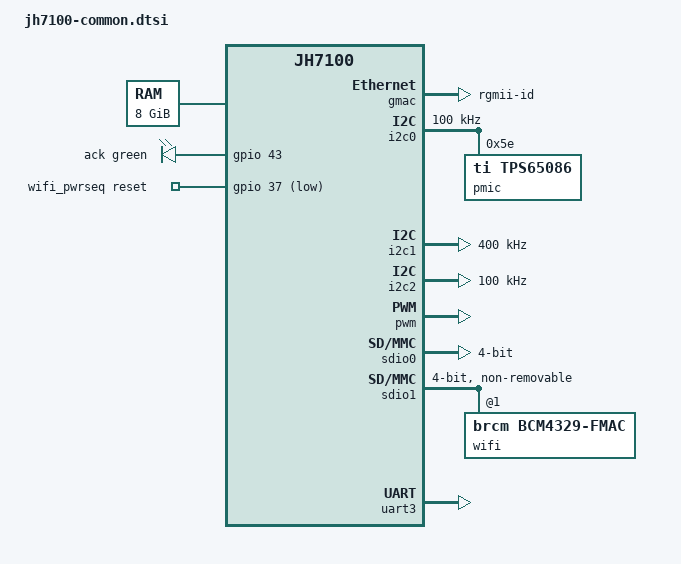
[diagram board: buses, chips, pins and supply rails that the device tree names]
// SPDX-License-Identifier: GPL-2.0 OR MIT
/*
 * Copyright (C) 2021 StarFive Technology Co., Ltd.
 * Copyright (C) 2021 Emil Renner Berthing <kernel@esmil.dk>
 */

/dts-v1/;
#include "jh7100.dtsi"
#include <dt-bindings/gpio/gpio.h>
#include <dt-bindings/leds/common.h>
#include <dt-bindings/pinctrl/pinctrl-starfive-jh7100.h>

/ {
	aliases {
		mmc0 = &sdio0;
		mmc1 = &sdio1;
		serial0 = &uart3;
	};

	chosen {
		stdout-path = "serial0:115200n8";
	};

	cpus {
		timebase-frequency = <6250000>;
	};

	memory@80000000 {
		device_type = "memory";
		reg = <0x0 0x80000000 0x2 0x0>;
	};

	leds {
		compatible = "gpio-leds";

		led-ack {
			gpios = <&gpio 43 GPIO_ACTIVE_HIGH>;
			color = <LED_COLOR_ID_GREEN>;
			function = LED_FUNCTION_HEARTBEAT;
			linux,default-trigger = "heartbeat";
			label = "ack";
		};
	};

	reserved-memory {
		#address-cells = <2>;
		#size-cells = <2>;
		ranges;

		dma-reserved@fa000000 {
			reg = <0x0 0xfa000000 0x0 0x1000000>;
			no-map;
		};

		linux,dma@107a000000 {
			compatible = "shared-dma-pool";
			reg = <0x10 0x7a000000 0x0 0x1000000>;
			no-map;
			linux,dma-default;
		};
	};

	soc {
		dma-ranges = <0x00 0x80000000 0x00 0x80000000 0x00 0x7a000000>,
			     <0x00 0xfa000000 0x10 0x7a000000 0x00 0x01000000>,
			     <0x00 0xfb000000 0x00 0xfb000000 0x07 0x85000000>;
	};

	wifi_pwrseq: wifi-pwrseq {
		compatible = "mmc-pwrseq-simple";
		reset-gpios = <&gpio 37 GPIO_ACTIVE_LOW>;
	};
};

&gmac {
	pinctrl-names = "default";
	pinctrl-0 = <&gmac_pins>;
	phy-mode = "rgmii-id";
	status = "okay";

	mdio: mdio {
		#address-cells = <1>;
		#size-cells = <0>;
		compatible = "snps,dwmac-mdio";
	};
};

&gpio {
	gmac_pins: gmac-0 {
		gtxclk-pins {
			pins = <PAD_FUNC_SHARE(115)>;
			bias-pull-up;
			drive-strength = <35>;
			input-enable;
			input-schmitt-enable;
			slew-rate = <0>;
		};
		miitxclk-pins {
			pins = <PAD_FUNC_SHARE(116)>;
			bias-pull-up;
			drive-strength = <14>;
			input-enable;
			input-schmitt-disable;
			slew-rate = <0>;
		};
		tx-pins {
			pins = <PAD_FUNC_SHARE(117)>,
			       <PAD_FUNC_SHARE(119)>,
			       <PAD_FUNC_SHARE(120)>,
			       <PAD_FUNC_SHARE(121)>,
			       <PAD_FUNC_SHARE(122)>,
			       <PAD_FUNC_SHARE(123)>,
			       <PAD_FUNC_SHARE(124)>,
			       <PAD_FUNC_SHARE(125)>,
			       <PAD_FUNC_SHARE(126)>;
			bias-pull-up;
			drive-strength = <35>;
			input-disable;
			input-schmitt-disable;
			slew-rate = <0>;
		};
		rxclk-pins {
			pins = <PAD_FUNC_SHARE(127)>;
			bias-pull-up;
			drive-strength = <14>;
			input-enable;
			input-schmitt-disable;
			slew-rate = <6>;
		};
		rxer-pins {
			pins = <PAD_FUNC_SHARE(129)>;
			bias-pull-up;
			drive-strength = <14>;
			input-enable;
			input-schmitt-disable;
			slew-rate = <0>;
		};
		rx-pins {
			pins = <PAD_FUNC_SHARE(128)>,
			       <PAD_FUNC_SHARE(130)>,
			       <PAD_FUNC_SHARE(131)>,
			       <PAD_FUNC_SHARE(132)>,
			       <PAD_FUNC_SHARE(133)>,
			       <PAD_FUNC_SHARE(134)>,
			       <PAD_FUNC_SHARE(135)>,
			       <PAD_FUNC_SHARE(136)>,
			       <PAD_FUNC_SHARE(137)>,
			       <PAD_FUNC_SHARE(138)>,
			       <PAD_FUNC_SHARE(139)>,
			       <PAD_FUNC_SHARE(140)>,
			       <PAD_FUNC_SHARE(141)>;
			bias-pull-up;
			drive-strength = <14>;
			input-enable;
			input-schmitt-enable;
			slew-rate = <0>;
		};
	};

	i2c0_pins: i2c0-0 {
		i2c-pins {
			pinmux = <GPIOMUX(62, GPO_LOW,
				  GPO_I2C0_PAD_SCK_OEN,
				  GPI_I2C0_PAD_SCK_IN)>,
				 <GPIOMUX(61, GPO_LOW,
				  GPO_I2C0_PAD_SDA_OEN,
				  GPI_I2C0_PAD_SDA_IN)>;
			bias-disable; /* external pull-up */
			input-enable;
			input-schmitt-enable;
		};
	};

	i2c1_pins: i2c1-0 {
		i2c-pins {
			pinmux = <GPIOMUX(47, GPO_LOW,
				  GPO_I2C1_PAD_SCK_OEN,
				  GPI_I2C1_PAD_SCK_IN)>,
				 <GPIOMUX(48, GPO_LOW,
				  GPO_I2C1_PAD_SDA_OEN,
				  GPI_I2C1_PAD_SDA_IN)>;
			bias-pull-up;
			input-enable;
			input-schmitt-enable;
		};
	};

	i2c2_pins: i2c2-0 {
		i2c-pins {
			pinmux = <GPIOMUX(60, GPO_LOW,
				  GPO_I2C2_PAD_SCK_OEN,
				  GPI_I2C2_PAD_SCK_IN)>,
				 <GPIOMUX(59, GPO_LOW,
				  GPO_I2C2_PAD_SDA_OEN,
				  GPI_I2C2_PAD_SDA_IN)>;
			bias-disable; /* external pull-up */
			input-enable;
			input-schmitt-enable;
		};
	};

	pwm_pins: pwm-0 {
		pwm-pins {
			pinmux = <GPIOMUX(7,
				  GPO_PWM_PAD_OUT_BIT0,
				  GPO_PWM_PAD_OE_N_BIT0,
				  GPI_NONE)>,
				 <GPIOMUX(5,
				  GPO_PWM_PAD_OUT_BIT1,
				  GPO_PWM_PAD_OE_N_BIT1,
				  GPI_NONE)>;
			bias-disable;
			drive-strength = <35>;
			input-disable;
			input-schmitt-disable;
			slew-rate = <0>;
		};
	};

	sdio0_pins: sdio0-0 {
		clk-pins {
			pinmux = <GPIOMUX(54, GPO_SDIO0_PAD_CCLK_OUT,
				  GPO_ENABLE, GPI_NONE)>;
			bias-disable;
			input-disable;
			input-schmitt-disable;
		};
		sdio-pins {
			pinmux = <GPIOMUX(55, GPO_LOW, GPO_DISABLE,
				  GPI_SDIO0_PAD_CARD_DETECT_N)>,
				 <GPIOMUX(53,
				  GPO_SDIO0_PAD_CCMD_OUT,
				  GPO_SDIO0_PAD_CCMD_OEN,
				  GPI_SDIO0_PAD_CCMD_IN)>,
				 <GPIOMUX(49,
				  GPO_SDIO0_PAD_CDATA_OUT_BIT0,
				  GPO_SDIO0_PAD_CDATA_OEN_BIT0,
				  GPI_SDIO0_PAD_CDATA_IN_BIT0)>,
				 <GPIOMUX(50,
				  GPO_SDIO0_PAD_CDATA_OUT_BIT1,
				  GPO_SDIO0_PAD_CDATA_OEN_BIT1,
				  GPI_SDIO0_PAD_CDATA_IN_BIT1)>,
				 <GPIOMUX(51,
				  GPO_SDIO0_PAD_CDATA_OUT_BIT2,
				  GPO_SDIO0_PAD_CDATA_OEN_BIT2,
				  GPI_SDIO0_PAD_CDATA_IN_BIT2)>,
				 <GPIOMUX(52,
				  GPO_SDIO0_PAD_CDATA_OUT_BIT3,
				  GPO_SDIO0_PAD_CDATA_OEN_BIT3,
				  GPI_SDIO0_PAD_CDATA_IN_BIT3)>;
			bias-pull-up;
			input-enable;
			input-schmitt-enable;
		};
	};

	sdio1_pins: sdio1-0 {
		clk-pins {
			pinmux = <GPIOMUX(33, GPO_SDIO1_PAD_CCLK_OUT,
				  GPO_ENABLE, GPI_NONE)>;
			bias-disable;
			input-disable;
			input-schmitt-disable;
		};
		sdio-pins {
			pinmux = <GPIOMUX(29,
				  GPO_SDIO1_PAD_CCMD_OUT,
				  GPO_SDIO1_PAD_CCMD_OEN,
				  GPI_SDIO1_PAD_CCMD_IN)>,
				 <GPIOMUX(36,
				  GPO_SDIO1_PAD_CDATA_OUT_BIT0,
				  GPO_SDIO1_PAD_CDATA_OEN_BIT0,
				  GPI_SDIO1_PAD_CDATA_IN_BIT0)>,
				 <GPIOMUX(30,
				  GPO_SDIO1_PAD_CDATA_OUT_BIT1,
				  GPO_SDIO1_PAD_CDATA_OEN_BIT1,
				  GPI_SDIO1_PAD_CDATA_IN_BIT1)>,
				 <GPIOMUX(34,
				  GPO_SDIO1_PAD_CDATA_OUT_BIT2,
				  GPO_SDIO1_PAD_CDATA_OEN_BIT2,
				  GPI_SDIO1_PAD_CDATA_IN_BIT2)>,
				 <GPIOMUX(31,
				  GPO_SDIO1_PAD_CDATA_OUT_BIT3,
				  GPO_SDIO1_PAD_CDATA_OEN_BIT3,
				  GPI_SDIO1_PAD_CDATA_IN_BIT3)>;
			bias-pull-up;
			input-enable;
			input-schmitt-enable;
		};
	};

	uart3_pins: uart3-0 {
		rx-pins {
			pinmux = <GPIOMUX(13, GPO_LOW, GPO_DISABLE,
				  GPI_UART3_PAD_SIN)>;
			bias-pull-up;
			drive-strength = <14>;
			input-enable;
			input-schmitt-enable;
			slew-rate = <0>;
		};
		tx-pins {
			pinmux = <GPIOMUX(14, GPO_UART3_PAD_SOUT,
				  GPO_ENABLE, GPI_NONE)>;
			bias-disable;
			drive-strength = <35>;
			input-disable;
			input-schmitt-disable;
			slew-rate = <0>;
		};
	};
};

&i2c0 {
	clock-frequency = <100000>;
	i2c-sda-hold-time-ns = <300>;
	i2c-sda-falling-time-ns = <500>;
	i2c-scl-falling-time-ns = <500>;
	pinctrl-names = "default";
	pinctrl-0 = <&i2c0_pins>;
	status = "okay";

	pmic@5e {
		compatible = "ti,tps65086";
		reg = <0x5e>;
		gpio-controller;
		#gpio-cells = <2>;

		regulators {
		};
	};
};

&i2c1 {
	clock-frequency = <400000>;
	i2c-sda-hold-time-ns = <300>;
	i2c-sda-falling-time-ns = <100>;
	i2c-scl-falling-time-ns = <100>;
	pinctrl-names = "default";
	pinctrl-0 = <&i2c1_pins>;
	status = "okay";
};

&i2c2 {
	clock-frequency = <100000>;
	i2c-sda-hold-time-ns = <300>;
	i2c-sda-falling-time-ns = <500>;
	i2c-scl-falling-time-ns = <500>;
	pinctrl-names = "default";
	pinctrl-0 = <&i2c2_pins>;
	status = "okay";
};

&osc_sys {
	clock-frequency = <25000000>;
};

&osc_aud {
	clock-frequency = <27000000>;
};

&pwm {
	pinctrl-names = "default";
	pinctrl-0 = <&pwm_pins>;
	status = "okay";
};

&sdio0 {
	broken-cd;
	bus-width = <4>;
	cap-sd-highspeed;
	pinctrl-names = "default";
	pinctrl-0 = <&sdio0_pins>;
	status = "okay";
};

&sdio1 {
	#address-cells = <1>;
	#size-cells = <0>;
	bus-width = <4>;
	cap-sd-highspeed;
	cap-sdio-irq;
	cap-power-off-card;
	mmc-pwrseq = <&wifi_pwrseq>;
	non-removable;
	pinctrl-names = "default";
	pinctrl-0 = <&sdio1_pins>;
	status = "okay";

	wifi@1 {
		compatible = "brcm,bcm4329-fmac";
		reg = <1>;
	};
};

&uart3 {
	pinctrl-names = "default";
	pinctrl-0 = <&uart3_pins>;
	status = "okay";
};
